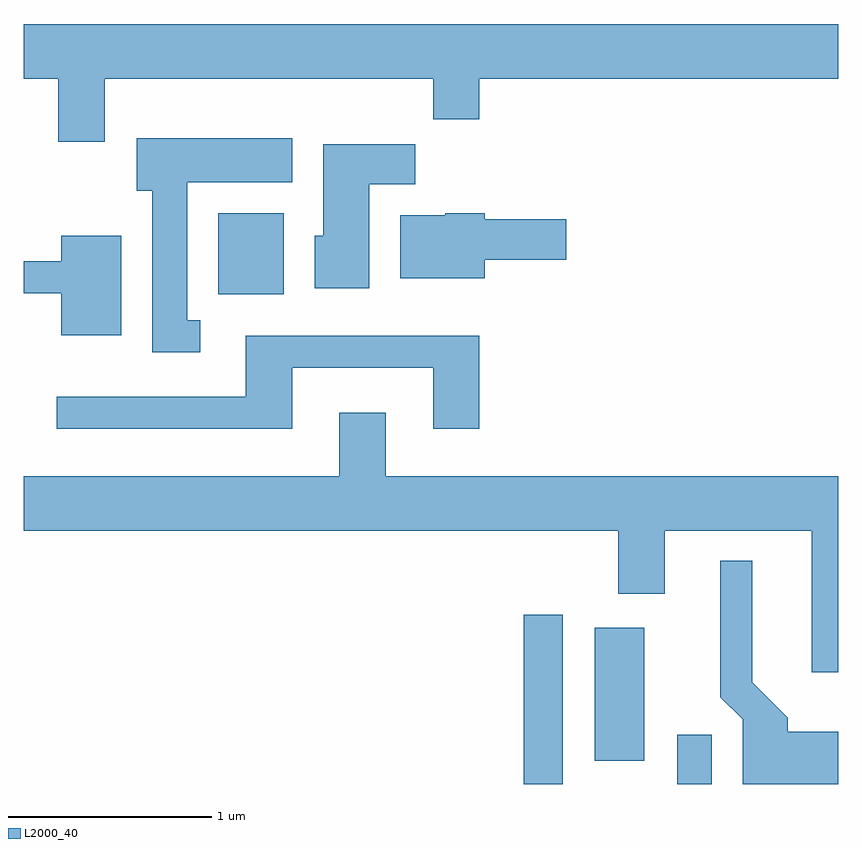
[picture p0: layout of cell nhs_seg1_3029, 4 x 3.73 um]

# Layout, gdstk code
import gdstk
lib = gdstk.Library(unit=1e-6, precision=1e-09)
def R(c, l, rs):  # rectangles x0, y0, x1, y1
    for r in rs: c.add(gdstk.rectangle(r[:2], r[2:], *l))
def P(c, l, *ps):  # polygons
    for p in ps: c.add(gdstk.Polygon(p, *l))
L2000_40 = (2000, 40)

nhs_seg1_3029 = lib.new_cell('nhs_seg1_3029')
R(nhs_seg1_3029, L2000_40, [(280.066,851.712,280.259,852.544), (280.821,851.712,280.989,851.953), (280.416,851.826,280.659,852.479), (278.566,854.116,278.889,854.514)])
P(nhs_seg1_3029, L2000_40, [(277.611,855.176),(277.781,855.176),(277.781,854.866),(278.009,854.866),(278.009,855.176),(279.621,855.176),(279.621,854.976),(279.849,854.976),(279.849,855.176),(281.611,855.176),(281.611,855.444),(277.611,855.444)],
  [(278.478,853.989),(278.414,853.989),(278.414,854.666),(278.929,854.666),(278.929,854.884),(278.166,854.884),(278.166,854.626),(278.241,854.626),(278.241,853.831),(278.478,853.831)],
  [(279.309,854.656),(279.534,854.656),(279.534,854.854),(279.081,854.854),(279.081,854.404),(279.041,854.404),(279.041,854.146),(279.309,854.146)],
  [(279.874,854.286),(280.274,854.286),(280.274,854.484),(279.874,854.484),(279.874,854.514),(279.68,854.514),(279.68,854.504),(279.461,854.504),(279.461,854.196),(279.874,854.196)],
  [(278.089,854.404),(277.796,854.404),(277.796,854.279),(277.611,854.279),(277.611,854.121),(277.796,854.121),(277.796,853.916),(278.089,853.916)],
  [(278.929,853.756),(279.621,853.756),(279.621,853.456),(279.849,853.456),(279.849,853.914),(278.701,853.914),(278.701,853.614),(277.773,853.614),(277.773,853.456),(278.929,853.456)],
  [(281.611,853.224),(279.389,853.224),(279.389,853.534),(279.161,853.534),(279.161,853.224),(277.611,853.224),(277.611,852.956),(280.531,852.956),(280.531,852.646),(280.759,852.646),(280.759,852.956),(281.481,852.956),(281.481,852.261),(281.611,852.261)],
  [(281.611,851.969),(281.364,851.969),(281.364,852.037),(281.189,852.212),(281.189,852.808),(281.031,852.808),(281.031,852.139),(281.141,852.029),(281.141,851.712),(281.611,851.712)])

lib.write_gds('nhs_seg1_3029.gds')
